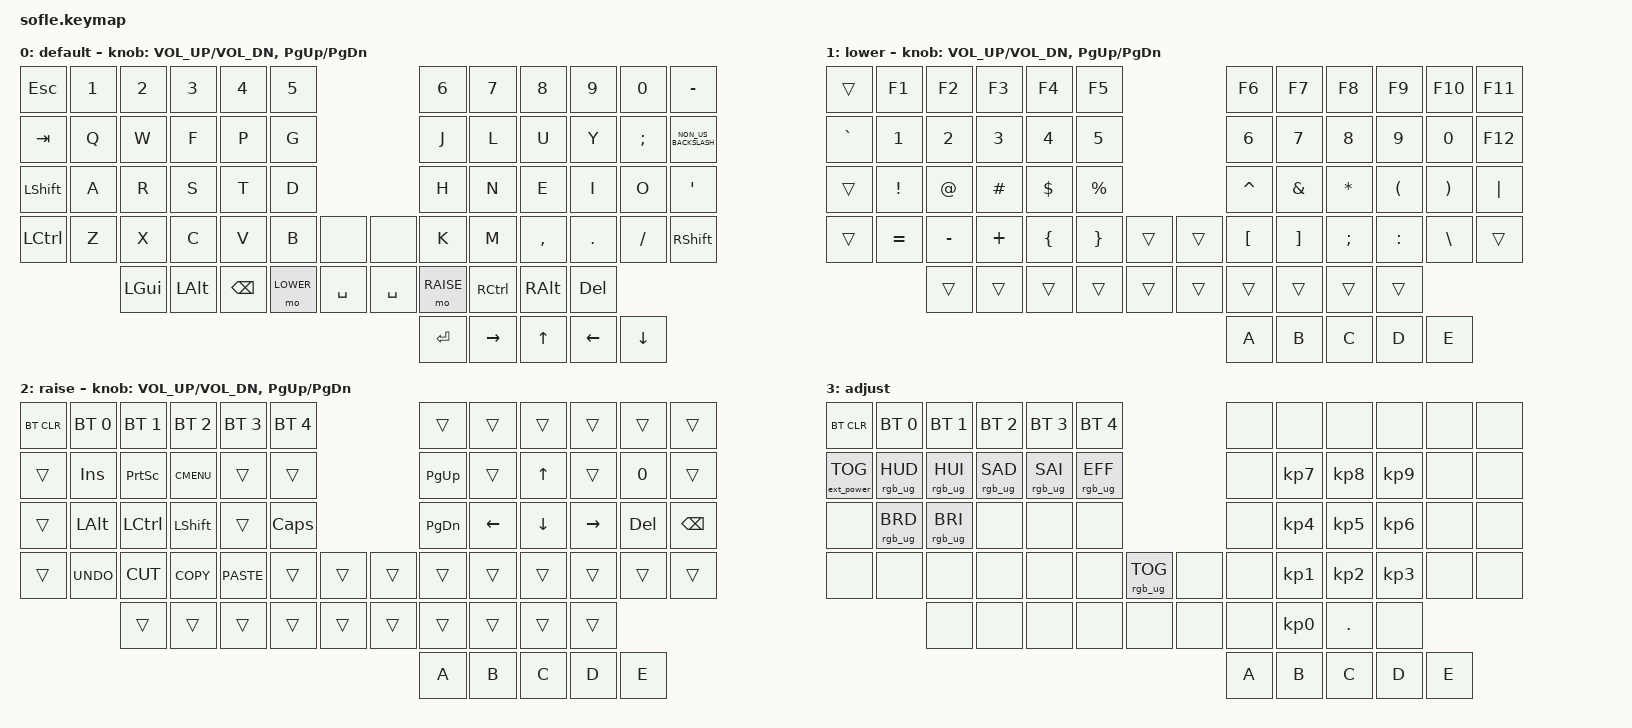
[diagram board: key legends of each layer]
/*
 * Copyright (c) 2020 The ZMK Contributors
 *
 * SPDX-License-Identifier: MIT
 */

#include <behaviors.dtsi>
#include <dt-bindings/zmk/bt.h>
#include <dt-bindings/zmk/ext_power.h>
#include <dt-bindings/zmk/keys.h>
#include <dt-bindings/zmk/rgb.h>

#define BASE 0
#define LOWER 1
#define RAISE 2
#define ADJUST 3

/ {
    // Activate ADJUST layer by pressing raise and lower

    conditional_layers {
        compatible = "zmk,conditional-layers";

        adjust_layer {
            if-layers = <LOWER RAISE>;
            then-layer = <ADJUST>;
        };
    };

    keymap {
        compatible = "zmk,keymap";

        default_layer {
            display-name = "default";

            // ------------------------------------------------------------------------------------------------------------
            // |   `   |  1  |  2  |  3   |  4   |  5   |                   |  6   |  7    |  8    |  9   |   0   |       |
            // |  ESC  |  Q  |  W  |  E   |  R   |  T   |                   |  Y   |  U    |  I    |  O   |   P   | BKSPC |
            // |  TAB  |  A  |  S  |  D   |  F   |  G   |                   |  H   |  J    |  K    |  L   |   ;   |   '   |
            // | SHIFT |  Z  |  X  |  C   |  V   |  B   |  MUTE  |  |       |  N   |  M    |  ,    |  .   |   /   | SHIFT |
            //               | GUI | ALT  | CTRL | LOWER|  ENTER |  | SPACE | RAISE| CTRL  | ALT   | GUI  |

            bindings = <
&kp ESCAPE      &kp N1  &kp N2    &kp N3    &kp N4         &kp N5                              &kp N6     &kp N7     &kp N8     &kp N9      &kp N0         &kp MINUS
&kp TAB         &kp Q   &kp W     &kp F     &kp P          &kp G                               &kp J      &kp L      &kp U      &kp Y       &kp SEMICOLON  &kp NON_US_BACKSLASH
&kp LEFT_SHIFT  &kp A   &kp R     &kp S     &kp T          &kp D                               &kp H      &kp N      &kp E      &kp I       &kp O          &kp SQT
&kp LCTRL       &kp Z   &kp X     &kp C     &kp V          &kp B      &none        &none      &kp K      &kp M      &kp COMMA  &kp DOT     &kp FSLH       &kp RSHFT
                        &kp LGUI  &kp LALT  &kp BACKSPACE  &mo LOWER  &kp SPACE     &kp SPACE  &mo RAISE  &kp RCTRL  &kp RALT   &kp DELETE
                                                                                    &kp ENTER  &kp RIGHT  &kp UP_ARROW  &kp LEFT  &kp DOWN
            >;
                
            sensor-bindings = <&inc_dec_kp C_VOL_UP C_VOL_DN &inc_dec_kp PG_UP PG_DN>;
        };

        lower_layer {
            display-name = "lower";

            // TODO: Some binds are waiting for shifted keycode support.
            // ------------------------------------------------------------------------------------------------------------
            // |       |  F1 |  F2 |  F3  |  F4  |  F5  |                   |  F6  |  F7   |  F8   |  F9  |  F10  |  F11  |
            // |   `   |  1  |  2  |  3   |  4   |  5   |                   |  6   |  7    |  8    |  9   |   0   |  F12  |
            // |       |  !  |  @  |  #   |  $   |  %   |                   |  ^   |  &    |  *    |  (   |   )   |   |   |
            // |       |  =  |  -  |  +   |  {   |  }   |        |  |       |  [   |  ]    |  ;    |  :   |   \   |       |
            //               |     |      |      |      |        |  |       |      |       |       |      |

            bindings = <
&trans     &kp F1     &kp F2     &kp F3    &kp F4    &kp F5                       &kp F6     &kp F7    &kp F8     &kp F9     &kp F10   &kp F11
&kp GRAVE  &kp N1     &kp N2     &kp N3    &kp N4    &kp N5                       &kp N6     &kp N7    &kp N8     &kp N9     &kp N0    &kp F12
&trans     &kp EXCL   &kp AT     &kp HASH  &kp DLLR  &kp PRCNT                    &kp CARET  &kp AMPS  &kp ASTRK  &kp LPAR   &kp RPAR  &kp PIPE
&trans     &kp EQUAL  &kp MINUS  &kp PLUS  &kp LBRC  &kp RBRC   &trans    &trans  &kp LBKT   &kp RBKT  &kp SEMI   &kp COLON  &kp BSLH  &trans
                      &trans     &trans    &trans    &trans     &trans    &trans  &trans     &trans    &trans     &trans
                                                                                    &kp A      &kp B     &kp C      &kp D      &kp E
            >;

            sensor-bindings = <&inc_dec_kp C_VOL_UP C_VOL_DN &inc_dec_kp PG_UP PG_DN>;
        };

        raise_layer {
            display-name = "raise";

            // ------------------------------------------------------------------------------------------------------------
            // | BTCLR | BT1  | BT2  |  BT3  |  BT4  |  BT5 |                |      |      |       |      |       |       |
            // |       | INS  | PSCR | GUI   |       |      |                | PGUP |      |   ^   |      |       |       |
            // |       | ALT  | CTRL | SHIFT |       | CAPS |                | PGDN |   <- |   v   |  ->  |  DEL  | BKSPC |
            // |       | UNDO | CUT  | COPY  | PASTE |      |      |  |      |      |      |       |      |       |       |
            //                |      |       |       |      |      |  |      |      |      |       |      |

            bindings = <
&bt BT_CLR  &bt BT_SEL 0  &bt BT_SEL 1  &bt BT_SEL 2  &bt BT_SEL 3  &bt BT_SEL 4                    &trans     &trans    &trans    &trans     &trans   &trans
&trans      &kp INS       &kp PSCRN     &kp K_CMENU   &trans        &trans                          &kp PG_UP  &trans    &kp UP    &trans     &kp N0   &trans
&trans      &kp LALT      &kp LCTRL     &kp LSHFT     &trans        &kp CLCK                        &kp PG_DN  &kp LEFT  &kp DOWN  &kp RIGHT  &kp DEL  &kp BSPC
&trans      &kp K_UNDO    &kp K_CUT     &kp K_COPY    &kp K_PASTE   &trans        &trans    &trans  &trans     &trans    &trans    &trans     &trans   &trans
                          &trans        &trans        &trans        &trans        &trans    &trans  &trans     &trans    &trans    &trans
                                                                                            &kp A      &kp B     &kp C      &kp D      &kp E
            >;

            sensor-bindings = <&inc_dec_kp C_VOL_UP C_VOL_DN &inc_dec_kp PG_UP PG_DN>;
        };

        adjust_layer {
            // ----------------------------------------------------------------------------------------------------------------------------
            // | BTCLR  |  BT1    |  BT2    |   BT3   |   BT4   |   BT5   |                  |      |      |       |      |       |       |
            // | EXTPWR | RGB_HUD | RGB_HUI | RGB_SAD | RGB_SAI | RGB_EFF |                  |      |      |       |      |       |       |
            // |        | RGB_BRD | RGB_BRI |         |         |         |                  |      |      |       |      |       |       |
            // |        |         |         |         |         |         | RGB_TOG | |      |      |      |       |      |       |       |
            //                    |         |         |         |         |         | |      |      |      |       |      |

            display-name = "adjust";
            bindings = <
&bt BT_CLR         &bt BT_SEL 0     &bt BT_SEL 1     &bt BT_SEL 2     &bt BT_SEL 3     &bt BT_SEL 4                               &none  &none            &none            &none            &none  &none
&ext_power EP_TOG  &rgb_ug RGB_HUD  &rgb_ug RGB_HUI  &rgb_ug RGB_SAD  &rgb_ug RGB_SAI  &rgb_ug RGB_EFF                            &none  &kp KP_NUMBER_7  &kp KP_NUMBER_8  &kp KP_NUMBER_9  &none  &none
&none              &rgb_ug RGB_BRD  &rgb_ug RGB_BRI  &none            &none            &none                                      &none  &kp KP_NUMBER_4  &kp KP_NUMBER_5  &kp KP_NUMBER_6  &none  &none
&none              &none            &none            &none            &none            &none            &rgb_ug RGB_TOG    &none  &none  &kp KP_NUMBER_1  &kp KP_NUMBER_2  &kp KP_NUMBER_3  &none  &none
                                    &none            &none            &none            &none            &none              &none  &none  &kp KP_NUMBER_0  &kp PERIOD       &none
                                                                                                                            &kp A      &kp B     &kp C      &kp D      &kp E
            >;
        };
    };
};
